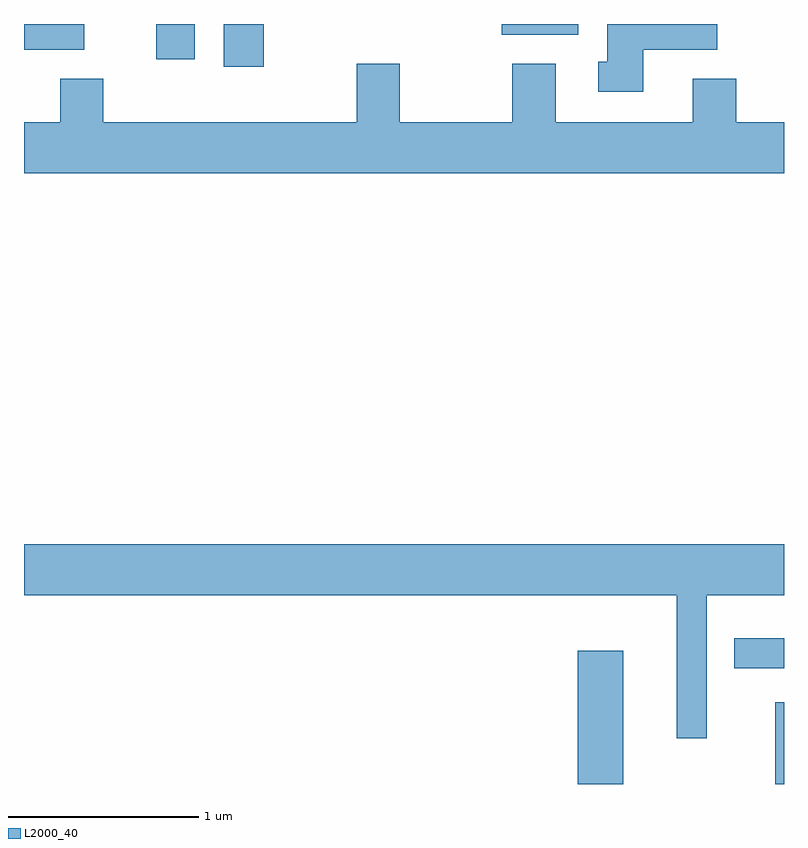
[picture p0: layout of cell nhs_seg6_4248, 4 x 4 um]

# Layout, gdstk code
import gdstk
lib = gdstk.Library(unit=1e-6, precision=1e-09)
def R(c, l, rs):  # rectangles x0, y0, x1, y1
    for r in rs: c.add(gdstk.rectangle(r[:2], r[2:], *l))
def P(c, l, *ps):  # polygons
    for p in ps: c.add(gdstk.Polygon(p, *l))
L2000_40 = (2000, 40)

nhs_seg6_4248 = lib.new_cell('nhs_seg6_4248')
R(nhs_seg6_4248, L2000_40, [(318.526,1540.162,318.764,1540.864), (319.566,1540.162,319.611,1540.593), (319.348,1540.771,319.611,1540.929), (316.661,1543.936,316.874,1544.162), (316.306,1543.976,316.509,1544.162), (315.611,1544.026,315.929,1544.162), (318.126,1544.106,318.529,1544.162)])
P(nhs_seg6_4248, L2000_40, [(318.869,1544.026),(319.259,1544.026),(319.259,1544.162),(318.681,1544.162),(318.681,1543.964),(318.633,1543.964),(318.633,1543.806),(318.869,1543.806)],
  [(319.611,1543.644),(319.359,1543.644),(319.359,1543.874),(319.131,1543.874),(319.131,1543.644),(318.409,1543.644),(318.409,1543.954),(318.181,1543.954),(318.181,1543.644),(317.589,1543.644),(317.589,1543.954),(317.361,1543.954),(317.361,1543.644),(316.029,1543.644),(316.029,1543.874),(315.801,1543.874),(315.801,1543.644),(315.611,1543.644),(315.611,1543.376),(319.611,1543.376)],
  [(319.204,1541.156),(319.611,1541.156),(319.611,1541.424),(315.611,1541.424),(315.611,1541.156),(319.046,1541.156),(319.046,1540.403),(319.204,1540.403)])

lib.write_gds('nhs_seg6_4248.gds')
